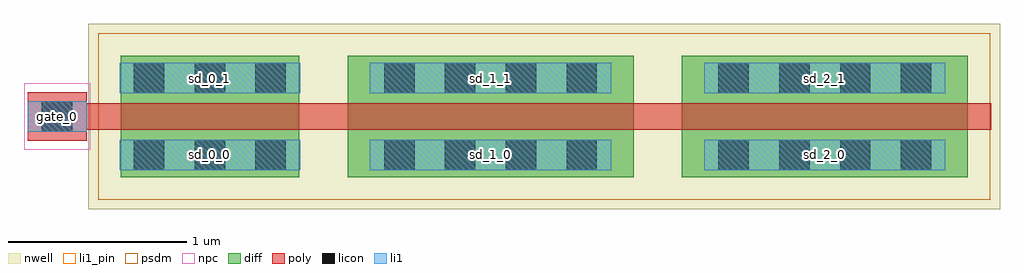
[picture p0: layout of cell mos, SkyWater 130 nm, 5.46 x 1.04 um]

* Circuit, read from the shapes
.subckt mos gate_0 sd_0_0 sd_0_1 sd_1_0 sd_1_1 sd_2_0 sd_2_1
XM1 sd_0_1 gate_0 sd_0_0 n1 sky130_fd_pr__pfet_01v8 w=1 l=0.15
XM2 sd_1_1 gate_0 sd_1_0 n1 sky130_fd_pr__pfet_01v8 w=1.6 l=0.15
XM3 sd_2_1 gate_0 sd_2_0 n1 sky130_fd_pr__pfet_01v8 w=1.6 l=0.15
.ends

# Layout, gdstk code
import gdstk
lib = gdstk.Library(unit=1e-6, precision=1e-09)
def R(c, l, rs):  # rectangles x0, y0, x1, y1
    for r in rs: c.add(gdstk.rectangle(r[:2], r[2:], *l))
def A(c, l, x, y, w, h, nx, ny, dx, dy):  # array of equal rectangles
    R(c, l, [(x+i*dx, y+j*dy, x+i*dx+w, y+j*dy+h) for i in range(nx) for j in range(ny)])
nwell = (64, 20)
diff = (65, 20)
poly = (66, 20)
licon = (66, 44)
li1_pin = (67, 16)
li1 = (67, 20)
psdm = (94, 20)
npc = (95, 20)

via = lib.new_cell('via')
R(via, poly, [(-0.165,-0.135,0.165,0.135)])
R(via, licon, [(-0.085,-0.085,0.085,0.085)])
R(via, li1, [(-0.165,-0.085,0.165,0.085)])
R(via, npc, [(-0.185,-0.185,0.185,0.185)])

via_1 = lib.new_cell('via_1')
R(via_1, diff, [(0.015,-0.125,0.985,0.125)])
A(via_1, licon, 0.075, -0.085, 0.17, 0.17, 3, 1, 0.34, 0)
R(via_1, li1, [(-0.005,-0.085,1.005,0.085)])

via_2 = lib.new_cell('via_2')
R(via_2, diff, [(0.145,-0.125,1.455,0.125)])
A(via_2, licon, 0.205, -0.085, 0.17, 0.17, 4, 1, 0.34, 0)
R(via_2, li1, [(0.125,-0.085,1.475,0.085)])

mos = lib.new_cell('mos')
R(mos, nwell, [(-0.18,-0.18,1.18,0.86), (1.09,-0.18,3.05,0.86), (2.96,-0.18,4.92,0.86)])
R(mos, diff, [(0,0,1,0.68), (1.27,0,2.87,0.68), (3.14,0,4.74,0.68)])
R(mos, poly, [(-0.19,0.265,4.87,0.415)])
R(mos, li1_pin, [(-0.005,0.04,1.005,0.21), (1.395,0.04,2.745,0.21), (3.265,0.04,4.615,0.21), (-0.52,0.255,-0.19,0.425), (-0.005,0.47,1.005,0.64), (1.395,0.47,2.745,0.64), (3.265,0.47,4.615,0.64)])
R(mos, li1, [(-0.005,0.04,1.005,0.21), (1.395,0.04,2.745,0.21), (3.265,0.04,4.615,0.21), (-0.52,0.255,-0.19,0.425), (-0.005,0.47,1.005,0.64), (1.395,0.47,2.745,0.64), (3.265,0.47,4.615,0.64)])
R(mos, psdm, [(-0.125,-0.125,1.125,0.805), (-0.125,-0.125,2.995,0.805), (-0.125,-0.125,4.865,0.805)])
R(mos, npc, [(-0.54,0.155,-0.17,0.525)])
mos.add(gdstk.Reference(via, (-0.355,0.34)))
mos.add(gdstk.Reference(via_1, (0,0.125)))
mos.add(gdstk.Reference(via_2, (1.27,0.125)))
mos.add(gdstk.Reference(via_2, (3.14,0.125)))
mos.add(gdstk.Reference(via_1, (0,0.555)))
mos.add(gdstk.Reference(via_2, (1.27,0.555)))
mos.add(gdstk.Reference(via_2, (3.14,0.555)))
mos.add(gdstk.Label('sd_2_0', (3.94,0.125), layer=67, texttype=5))
mos.add(gdstk.Label('sd_1_1', (2.07,0.555), layer=67, texttype=5))
mos.add(gdstk.Label('sd_2_1', (3.94,0.555), layer=67, texttype=5))
mos.add(gdstk.Label('sd_1_0', (2.07,0.125), layer=67, texttype=5))
mos.add(gdstk.Label('sd_0_1', (0.5,0.555), layer=67, texttype=5))
mos.add(gdstk.Label('sd_0_0', (0.5,0.125), layer=67, texttype=5))
mos.add(gdstk.Label('gate_0', (-0.355,0.34), layer=67, texttype=5))

lib.write_gds('mos.gds')
